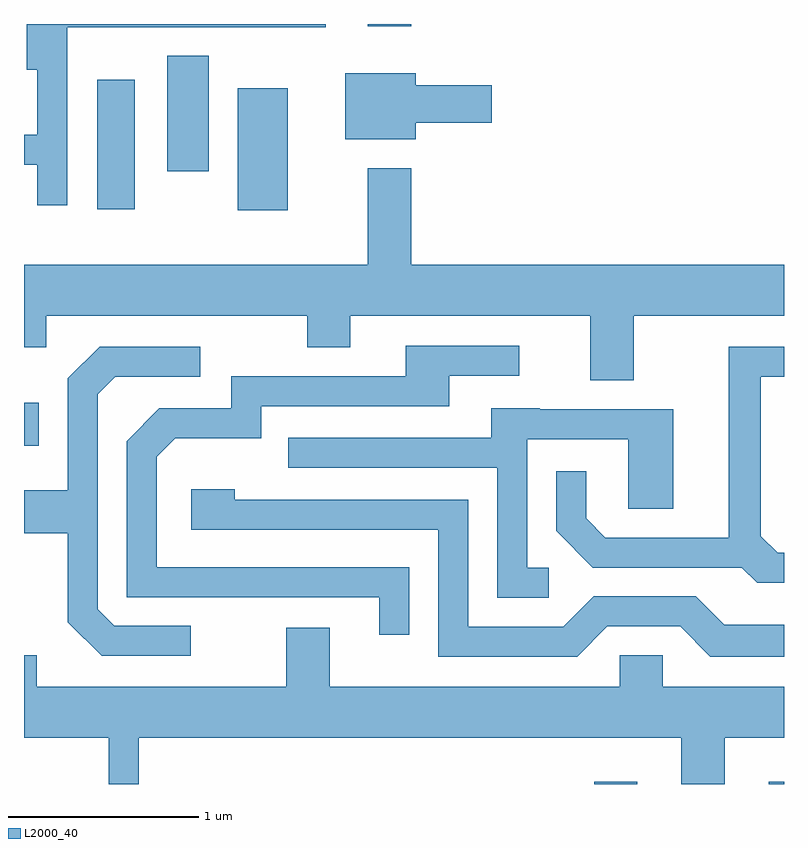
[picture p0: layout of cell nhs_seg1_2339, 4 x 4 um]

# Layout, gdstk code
import gdstk
lib = gdstk.Library(unit=1e-6, precision=1e-09)
def R(c, l, rs):  # rectangles x0, y0, x1, y1
    for r in rs: c.add(gdstk.rectangle(r[:2], r[2:], *l))
def P(c, l, *ps):  # polygons
    for p in ps: c.add(gdstk.Polygon(p, *l))
L2000_40 = (2000, 40)

nhs_seg1_2339 = lib.new_cell('nhs_seg1_2339')
R(nhs_seg1_2339, L2000_40, [(258.611,963.712,258.839,963.724), (259.531,963.712,259.611,963.724), (255.611,965.491,255.689,965.719), (256.736,966.731,256.999,967.374), (255.996,966.736,256.194,967.419), (256.366,966.936,256.584,967.544), (257.421,967.701,257.649,967.712)])
P(nhs_seg1_2339, L2000_40, [(255.839,967.696),(257.198,967.696),(257.198,967.712),(255.626,967.712),(255.626,967.471),(255.681,967.471),(255.681,967.129),(255.611,967.129),(255.611,966.971),(255.681,966.971),(255.681,966.758),(255.839,966.758)],
  [(257.674,967.191),(258.074,967.191),(258.074,967.389),(257.674,967.389),(257.674,967.454),(257.301,967.454),(257.301,967.106),(257.674,967.106)],
  [(258.819,966.176),(259.611,966.176),(259.611,966.444),(257.649,966.444),(257.649,966.954),(257.421,966.954),(257.421,966.444),(255.611,966.444),(255.611,966.011),(255.729,966.011),(255.729,966.176),(257.101,966.176),(257.101,966.011),(257.329,966.011),(257.329,966.176),(258.591,966.176),(258.591,965.836),(258.819,965.836)],
  [(257.639,964.854),(256.309,964.854),(256.309,965.434),(256.407,965.531),(256.859,965.531),(256.859,965.701),(257.849,965.701),(257.849,965.861),(258.218,965.861),(258.218,966.019),(257.621,966.019),(257.621,965.859),(256.701,965.859),(256.701,965.689),(256.324,965.689),(256.151,965.517),(256.151,964.696),(257.481,964.696),(257.481,964.498),(257.639,964.498)],
  [(259.611,964.929),(259.577,964.929),(259.489,965.017),(259.489,965.856),(259.611,965.856),(259.611,966.014),(259.321,966.014),(259.321,965.009),(258.671,965.009),(258.569,965.112),(258.569,965.358),(258.411,965.358),(258.411,965.044),(258.604,964.851),(259.389,964.851),(259.469,964.771),(259.611,964.771)],
  [(256.488,964.544),(256.087,964.544),(255.999,964.632),(255.999,965.764),(256.092,965.856),(256.538,965.856),(256.538,966.014),(256.009,966.014),(255.841,965.847),(255.841,965.259),(255.611,965.259),(255.611,965.031),(255.841,965.031),(255.841,964.564),(256.019,964.386),(256.488,964.386)],
  [(258.373,964.849),(258.259,964.849),(258.259,965.526),(258.791,965.526),(258.791,965.161),(259.029,965.161),(259.029,965.684),(258.325,965.684),(258.325,965.689),(258.071,965.689),(258.071,965.534),(257.003,965.534),(257.003,965.376),(258.101,965.376),(258.101,964.691),(258.373,964.691)],
  [(258.682,964.541),(259.064,964.541),(259.224,964.381),(259.611,964.381),(259.611,964.549),(259.296,964.549),(259.147,964.699),(258.609,964.699),(258.449,964.539),(257.949,964.539),(257.949,965.209),(256.719,965.209),(256.719,965.264),(256.491,965.264),(256.491,965.051),(257.791,965.051),(257.791,964.381),(258.522,964.381)],
  [(256.214,963.956),(259.071,963.956),(259.071,963.712),(259.299,963.712),(259.299,963.956),(259.611,963.956),(259.611,964.224),(258.974,964.224),(258.974,964.389),(258.746,964.389),(258.746,964.224),(257.219,964.224),(257.219,964.534),(256.991,964.534),(256.991,964.224),(255.679,964.224),(255.679,964.389),(255.611,964.389),(255.611,963.956),(256.056,963.956),(256.056,963.712),(256.214,963.712)])

lib.write_gds('nhs_seg1_2339.gds')
